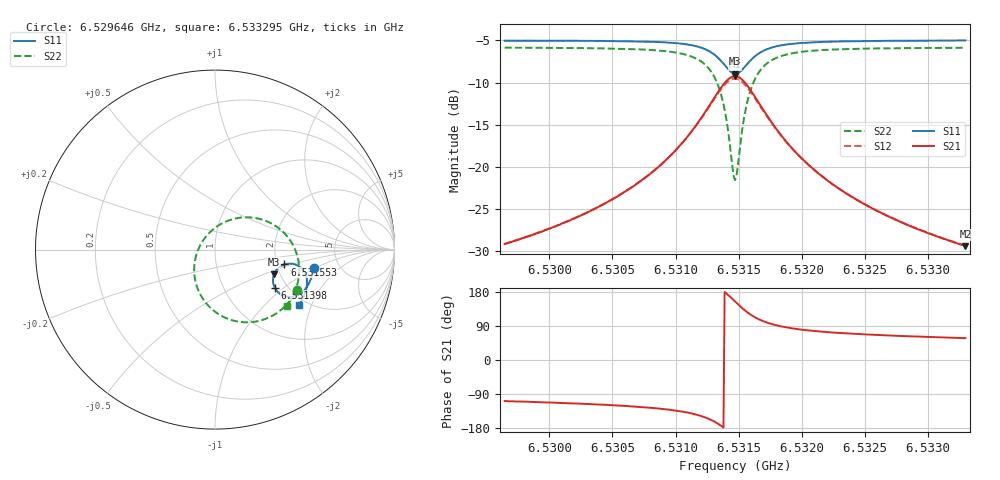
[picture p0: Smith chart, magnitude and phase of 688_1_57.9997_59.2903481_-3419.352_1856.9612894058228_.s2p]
#  HZ  S  RI  R  50.00
! Rohde & Schwarz Vector Network Analyzer
! Rohde-Schwarz,ZNB20-2Port,1311601062101988,3.16
! Created: UTC 3/21/2024, 1:21:08 AM
! freq[Hz]  re:S11  im:S11  re:S21  im:S21  re:S12  im:S12  re:S22  im:S22
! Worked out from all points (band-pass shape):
!   401 points, 6.529646 GHz to 6.533295 GHz, reference 50 ohm
!   highest |S21| = -9.25 dB at 6.531471 GHz (marker M1); lowest = -29.4 dB at 6.533295 GHz (marker M2)
!   |S21| within 3 dB of the highest: 6.531288 GHz to 6.531653 GHz (365.8 kHz wide, 0.0056 % of centre)
!   lowest |S11| = -8.9 dB at 6.531471 GHz (marker M3), VSWR 2.11, Z = 92.9 - j29.5 ohm
!   |S11| at or under -10 dB: nowhere
!   |S22| runs from -21.6 to -5.9 dB; largest |S21 - S12| = 0.015
!   S11 on the Smith chart (normalised r, x): 6.529646 GHz: 3.23, -0.98; 6.531398 GHz: 1.72, -0.86; 6.531553 GHz: 2.21, -0.43; 6.533295 GHz: 1.83, -1.64
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6.5296461e9  0.5506 -0.1037  -0.011 -0.0332  -0.0117 -0.033  0.4575 -0.2234
6.5302574e9  0.537 -0.1557  -0.0224 -0.0469  -0.0236 -0.0463  0.4203 -0.2814
6.5306041e9  0.523 -0.1892  -0.0372 -0.0613  -0.0389 -0.0602  0.3817 -0.3238
6.5308686e9  0.5038 -0.2196  -0.0621 -0.0794  -0.0646 -0.0774  0.3259 -0.365
6.5310876e9  0.4709 -0.2492  -0.1112 -0.0993  -0.1144 -0.0949  0.2283 -0.4007
6.5312427e9  0.4193 -0.2641  -0.1919 -0.0996  -0.1937 -0.091  0.0827 -0.3896
6.5313339e9  0.3683 -0.2502  -0.2701 -0.0589  -0.2671 -0.0471  -0.0437 -0.3052
6.5313704e9  0.3463 -0.232  -0.3017 -0.0214  -0.2952 -0.00931  -0.0891 -0.2354
6.5313978e9  0.3327 -0.2117  -0.3199 0.0176  -0.3104 0.0285  -0.1111 -0.1672
6.5314525e9  0.3242 -0.1575  -0.3233 0.1147  -0.3095 0.12  -0.0968 -0.00753
6.5314708e9  0.3289 -0.1386  -0.3114 0.1477  -0.2975 0.1504  -0.0714 0.0435
6.531489e9  0.3374 -0.1211  -0.2933 0.1776  -0.28 0.1779  -0.0364 0.0886
6.5315255e9  0.3636 -0.0939  -0.2437 0.2225  -0.2328 0.2192  0.0525 0.1527
6.5315529e9  0.3871 -0.0824  -0.2017 0.2411  -0.1932 0.2365  0.1248 0.1756
6.5315894e9  0.4174 -0.0778  -0.1484 0.2481  -0.1427 0.2432  0.2145 0.1776
6.5316259e9  0.4432 -0.0819  -0.1039 0.2413  -0.1002 0.237  0.2877 0.1581
6.5317354e9  0.4895 -0.1129  -0.0255 0.1943  -0.024 0.1921  0.4125 0.0605
6.5318631e9  0.5084 -0.1487  0.00774 0.1452  0.00897 0.1443  0.459 -0.0363
6.532082e9  0.5128 -0.1914  0.0219 0.0962  0.0232 0.0955  0.4686 -0.1366
6.532374e9  0.506 -0.2293  0.0235 0.0639  0.0245 0.0636  0.4547 -0.2083
6.5326933e9  0.4948 -0.2601  0.0218 0.0458  0.0226 0.0455  0.4354 -0.2558
6.5332954e9  0.4704 -0.307  0.0181 0.0287  0.0189 0.0284  0.4003 -0.3132
